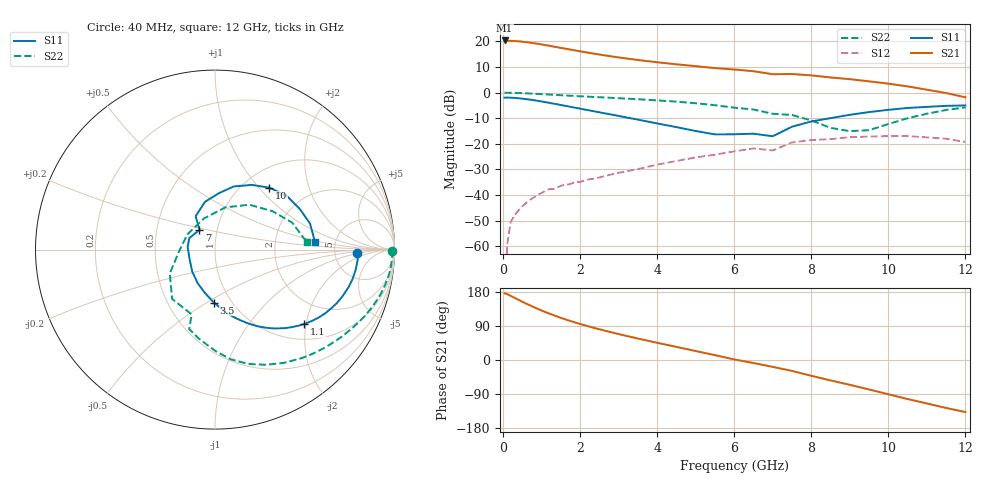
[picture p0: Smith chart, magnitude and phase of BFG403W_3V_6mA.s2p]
! Filename: 36bfg403.001
! BFG403W Field A1
! V1=8.961E-001V,V2=3.000E+000V, I1=9.291E-005A, I2=6.010E-003A
# GHz  S  MA  R 50
!  S11  S21  S12  S22
!Freq(GHz)  Mag  Ang  Mag  Ang  Mag  Ang  Mag  Ang
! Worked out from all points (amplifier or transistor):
!   44 points, 40 MHz to 12 GHz, reference 50 ohm
!   highest |S21| = 20.3 dB at 40 MHz (marker M1)
!   |S21| within 3 dB of that: start of sweep to 1.538 GHz
!   S11 on the Smith chart (normalised r, x): 40 MHz: 8.55, -0.99; 1.1 GHz: 1.37, -1.96; 3.5 GHz: 0.83, -0.54; 7 GHz: 0.82, +0.18; 10 GHz: 1.31, +1.14; 12 GHz: 3.48, +0.41
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0.04  0.793 -1.6  10.38 176.1  0 96.3  0.985 -0.4
0.1  0.797 -4.0  10.23 174.2  0.001 89.6  0.988 -1.9
0.2  0.792 -8.1  10.18 169.1  0.003 84.4  0.986 -4.3
0.4  0.773 -15.7  9.989 158.9  0.005 78.8  0.978 -8.8
0.6  0.742 -23.5  9.63 148.8  0.007 74.9  0.964 -12.9
0.8  0.707 -30.5  9.166 139.4  0.009 71.2  0.947 -16.9
1.1  0.648 -39.7  8.422 126.5  0.012 67.2  0.92 -22.4
1.3  0.608 -45.3  7.911 118.6  0.013 65.4  0.902 -25.8
1.6  0.552 -52.8  7.21 107.8  0.016 63.4  0.876 -30.6
1.9  0.5 -59.4  6.564 98.2  0.018 62.2  0.853 -35.2
2.2  0.453 -65.6  6.004 89.3  0.02 61.6  0.83 -39.7
2.8  0.373 -77.2  5.089 73.3  0.025 60.8  0.788 -48.4
3.5  0.295 -91.2  4.313 56.6  0.032 58.5  0.739 -58.6
4.5  0.211 -117.2  3.553 34.5  0.046 51.1  0.663 -73.9
5.5  0.152 -158.1  2.998 12.8  0.061 39.4  0.565 -89.8
6.5  0.157 155.9  2.602 -8.0  0.081 28.1  0.466 -108.0
7  0.14 128.2  2.278 -18.1  0.074 26.1  0.384 -109.8
7.5  0.215 120.1  2.298 -28.9  0.106 14.8  0.364 -131.0
8.5  0.316 85.8  1.966 -53.9  0.123 -10.4  0.204 -175.4
10  0.459 48.7  1.49 -90.4  0.141 -46.8  0.242 76.4
10.5  0.499 36.9  1.315 -103.0  0.141 -61.0  0.315 52.5
12  0.559 4.1  0.806 -137.4  0.108 -104.9  0.512 4.8
